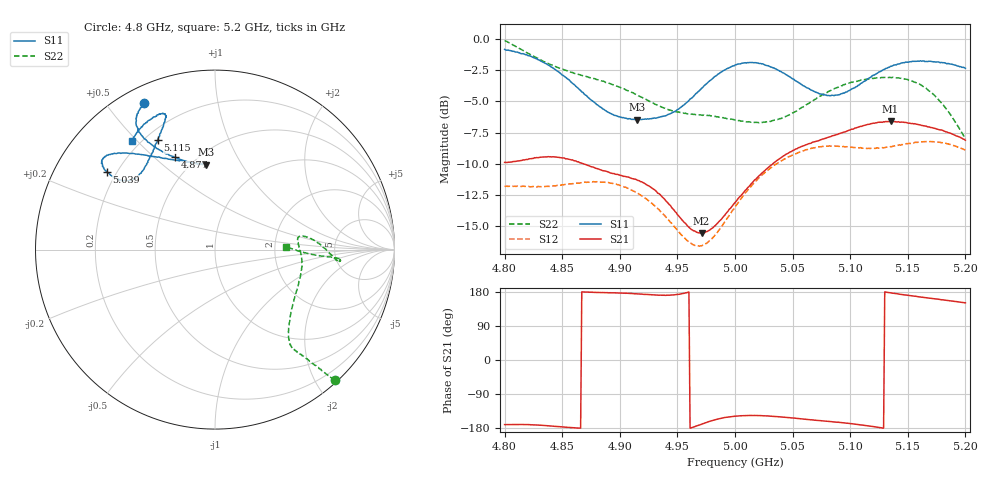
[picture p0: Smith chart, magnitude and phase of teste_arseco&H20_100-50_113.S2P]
! Network Analyzer HP8722D
! Hewlett-Packard
! Data name: Linha & Wilkinson
! Saver's name: Rodrigo Anjos
! Comments: Teste da utilização de aquisição
! continua pelo VNA HP8722D
! Time and date: 6/5/2025 13:30
!  Frequency  S11  S21  S12  S22
# HZ  S  MA R 50
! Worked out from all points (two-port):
!   401 points, 4.8 GHz to 5.2 GHz, reference 50 ohm
!   highest |S21| = -6.60 dB at 5.135 GHz (marker M1); lowest = -15.6 dB at 4.971 GHz (marker M2)
!   |S21| within 3 dB of the highest: 4.822 GHz to 4.853 GHz (31.21 MHz wide, 0.645 % of centre); 5.039 GHz to end of sweep
!   lowest |S11| = -6.5 dB at 4.915 GHz (marker M3), VSWR 2.81, Z = 29.1 + j35.5 ohm
!   |S11| at or under -10 dB: nowhere
!   |S22| runs from -8.0 to -0.1 dB; largest |S21 - S12| = 0.83
!   S11 on the Smith chart (normalised r, x): 4.8 GHz: 0.07, +0.63; 4.877 GHz: 0.39, +0.59; 5.039 GHz: 0.16, +0.32; 5.115 GHz: 0.25, +0.58; 5.2 GHz: 0.17, +0.49
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4.8e9  0.9081 115.8  0.3203 -170.5  0.2569 -86.2  0.9857 -47.5
4.832e9  0.8126 122.4  0.3363 -172.3  0.2562 -77.6  0.8206 -49.5
4.848e9  0.7308 122.5  0.3347 -175.9  0.2592 -72.2  0.7626 -50.6
4.867e9  0.6136 117.9  0.3183 179.8  0.2655 -67.4  0.7148 -51.5
4.877e9  0.5617 113.4  0.3067 178.5  0.2683 -66.3  0.6945 -51.9
4.901e9  0.4853 100.7  0.2843 176.7  0.2582 -66.8  0.6374 -50.0
4.915e9  0.4752 96.3  0.2722 174.5  0.2419 -68.3  0.5961 -46.5
4.934e9  0.4855 99.3  0.2401 171.0  0.2073 -69.5  0.5392 -37.6
4.959e9  0.561 116.3  0.1779 178.4  0.1553 -59.1  0.5012 -21.0
4.971e9  0.6347 124.7  0.1668 -169.5  0.1485 -45.5  0.4957 -13.8
4.982e9  0.7047 130.5  0.1777 -158.5  0.1623 -33.1  0.4893 -8.4
5e9  0.7851 137.2  0.2211 -148.4  0.2129 -21.5  0.4735 -0.3
5.019e9  0.8012 141.8  0.2774 -146.6  0.272 -18.4  0.4632 5.9
5.039e9  0.7419 144.1  0.3318 -149.9  0.322 -18.4  0.4796 8.9
5.067e9  0.6217 142.0  0.3853 -157.9  0.3657 -20.6  0.5625 4.7
5.088e9  0.5957 133.1  0.4139 -163.9  0.3719 -23.8  0.637 -1.7
5.115e9  0.6902 117.6  0.4545 -173.6  0.3642 -26.8  0.6906 -5.3
5.134e9  0.77 111.2  0.4659 177.9  0.3689 -28.7  0.7016 -4.9
5.135e9  0.777 111.1  0.4678 177.3  0.3705 -28.8  0.7008 -4.8
5.162e9  0.8143 112.8  0.4505 165.9  0.3875 -35.4  0.6517 -3.7
5.18e9  0.8034 118.9  0.4308 158.9  0.3841 -41.0  0.5497 -3.0
5.2e9  0.7629 127.2  0.3928 150.8  0.3589 -46.3  0.398 2.3
